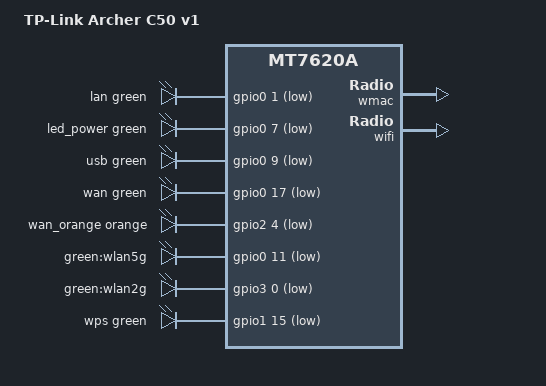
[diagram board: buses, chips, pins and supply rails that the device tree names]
#include <dt-bindings/leds/common.h>

#include "mt7620a_tplink_archer.dtsi"

/ {
	compatible = "tplink,archer-c50-v1", "ralink,mt7620a-soc";
	model = "TP-Link Archer C50 v1";

	aliases {
		led-boot = &led_power;
		led-failsafe = &led_power;
		led-running = &led_power;
		led-upgrade = &led_power;
	};

	leds {
		compatible = "gpio-leds";

		lan {
			function = LED_FUNCTION_LAN;
			color = <LED_COLOR_ID_GREEN>;
			gpios = <&gpio0 1 GPIO_ACTIVE_LOW>;
		};

		led_power: power {
			function = LED_FUNCTION_POWER;
			color = <LED_COLOR_ID_GREEN>;
			gpios = <&gpio0 7 GPIO_ACTIVE_LOW>;
			default-state = "on";
		};

		usb {
			function = LED_FUNCTION_USB;
			color = <LED_COLOR_ID_GREEN>;
			gpios = <&gpio0 9 GPIO_ACTIVE_LOW>;
			trigger-sources = <&ohci_port1>, <&ehci_port1>;
			linux,default-trigger = "usbport";
		};

		wan {
			function = LED_FUNCTION_WAN;
			color = <LED_COLOR_ID_GREEN>;
			gpios = <&gpio0 17 GPIO_ACTIVE_LOW>;
		};

		wan_orange {
			function = LED_FUNCTION_WAN;
			color = <LED_COLOR_ID_ORANGE>;
			gpios = <&gpio2 4 GPIO_ACTIVE_LOW>;
		};

		wlan5g {
			label = "green:wlan5g";
			gpios = <&gpio0 11 GPIO_ACTIVE_LOW>;
			linux,default-trigger = "phy0tpt";
		};

		wlan2g {
			label = "green:wlan2g";
			gpios = <&gpio3 0 GPIO_ACTIVE_LOW>;
			linux,default-trigger = "phy1tpt";
		};

		wps {
			function = LED_FUNCTION_WPS;
			color = <LED_COLOR_ID_GREEN>;
			gpios = <&gpio1 15 GPIO_ACTIVE_LOW>;
		};
	};
};

&state_default {
	gpio {
		groups = "i2c", "uartf", "rgmii1", "rgmii2", "wled", "ephy", "spi refclk", "mdio", "wdt", "nd_sd";
		function = "gpio";
	};
};

&wmac {
	pinctrl-names = "default", "pa_gpio";
	pinctrl-0 = <&pa_pins>;
	pinctrl-1 = <&pa_gpio_pins>;

	nvmem-cells = <&eeprom_radio_0>, <&macaddr_rom_f100 (-2)>;
	nvmem-cell-names = "eeprom", "mac-address";
};

&wifi {
	nvmem-cells = <&eeprom_radio_8000>, <&macaddr_rom_f100 (-1)>;
	nvmem-cell-names = "eeprom", "mac-address";
};
